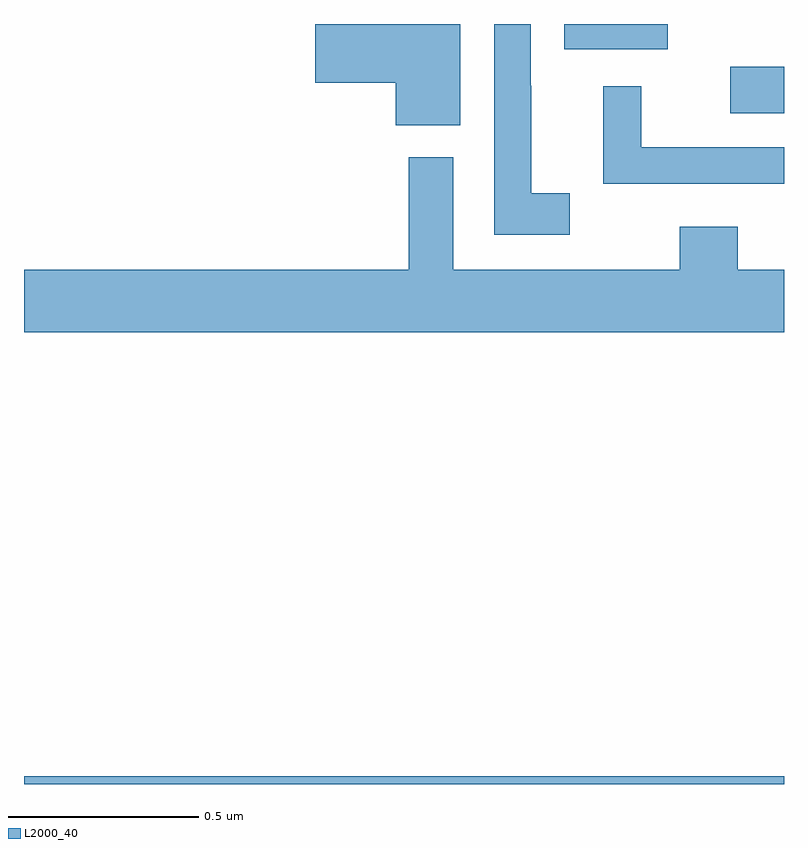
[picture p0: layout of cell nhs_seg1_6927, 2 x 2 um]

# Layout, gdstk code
import gdstk
lib = gdstk.Library(unit=1e-6, precision=1e-09)
def R(c, l, rs):  # rectangles x0, y0, x1, y1
    for r in rs: c.add(gdstk.rectangle(r[:2], r[2:], *l))
def P(c, l, *ps):  # polygons
    for p in ps: c.add(gdstk.Polygon(p, *l))
L2000_40 = (2000, 40)

nhs_seg1_6927 = lib.new_cell('nhs_seg1_6927')
R(nhs_seg1_6927, L2000_40, [(197,561.199,199,561.22), (198.858,562.964,199,563.086), (198.422,563.132,198.694,563.199)])
P(nhs_seg1_6927, L2000_40, [(198.436,562.753),(198.335,562.753),(198.335,563.036),(198.333,563.036),(198.333,563.199),(198.237,563.199),(198.237,562.644),(198.436,562.644)],
  [(198.148,563.199),(197.766,563.199),(197.766,563.045),(197.978,563.045),(197.978,562.933),(198.148,562.933)],
  [(199,562.875),(198.624,562.875),(198.624,563.035),(198.524,563.035),(198.524,562.779),(199,562.779)],
  [(199,562.552),(198.878,562.552),(198.878,562.666),(198.725,562.666),(198.725,562.552),(198.129,562.552),(198.129,562.848),(198.013,562.848),(198.013,562.552),(197,562.552),(197,562.388),(199,562.388)])

lib.write_gds('nhs_seg1_6927.gds')
